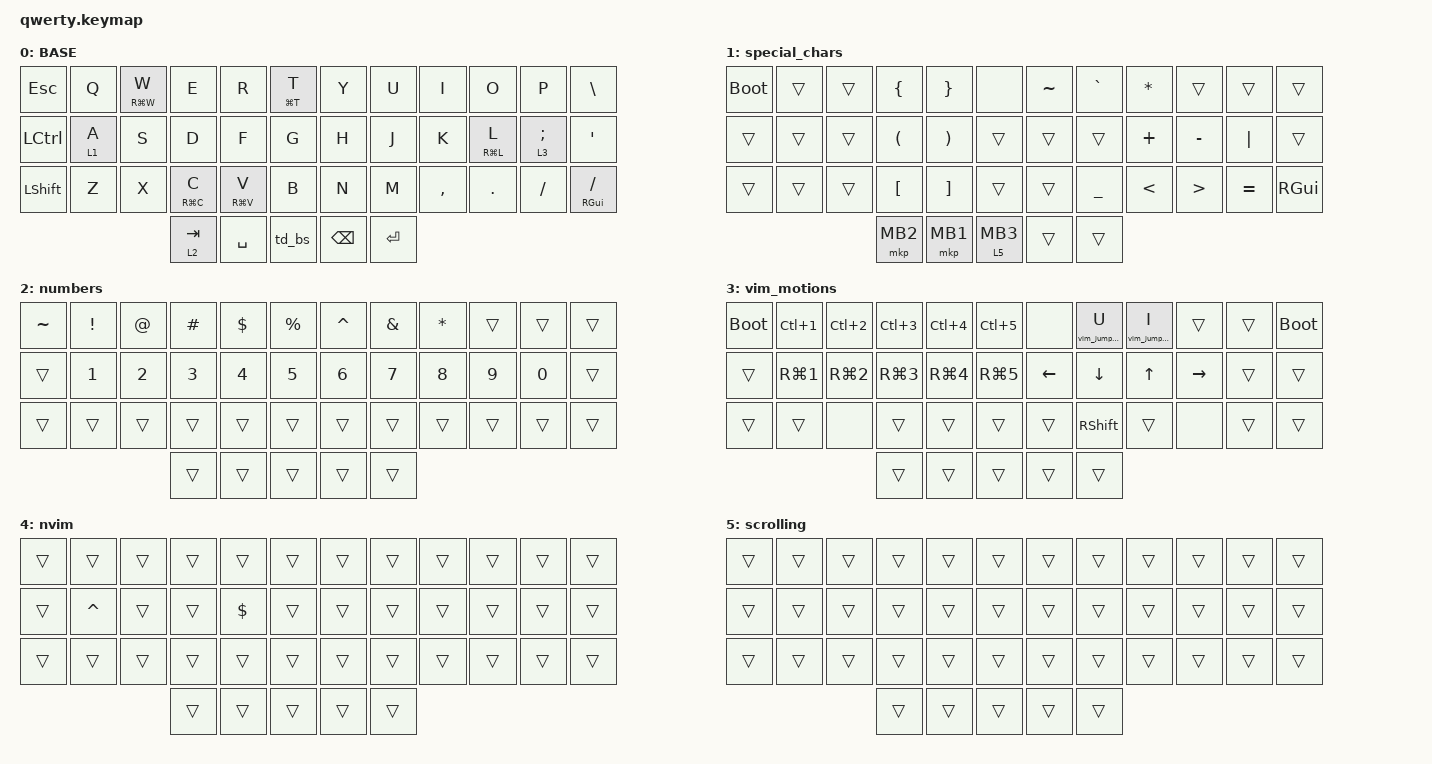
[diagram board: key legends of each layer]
/* upstream bindings and behaviors */

#include <dt-bindings/zmk/mouse.h>
#include <behaviors/mouse_keys.dtsi>
#include <behaviors.dtsi>
#include <dt-bindings/zmk/keys.h>
#include <dt-bindings/zmk/pointing.h>

/* local overlays */

#include "macros.dtsi"
#include "behaviors.dtsi"
#include "combos.dtsi"

/ {
    /* --- KEYMAP CONFIG --- */
    // ╭──────┬──────┬──────┬──────┬──────┬──────╮  ╭──────┬──────┬──────┬──────┬──────┬──────╮
    //    00     01     02     03    04      05        06     07     08     09     10     11
    // ├──────┼──────┼──────┼──────┼──────┼──────┤  ├──────┼──────┼──────┼──────┼──────┼──────┤
    //    12     13     14     15    16      17        18     19     20     21     22     23
    // ├──────┼──────┼──────┼──────┼──────┼──────┤  ├──────┼──────┼──────┼──────┼──────┼──────┤
    //    24     25     26     27    28      29        30     31     32     33     34     35
    // ╰──────┴──────┴──────┼──────┼──────┼──────┤  ├──────┼──────┼──────┴──────┴──────┴──────╯
    //                         36     37     38        39     40
    //                      ╰──────┴──────┴──────╯  ╰──────┴──────╯
    // #define BASE    0
    // #define NUM     1
    // #define NAV     2
    // #define SYM     3
    // #define GAME    4
    // #define EXTRAS  5
    // #define SLOW    6
    // #define SCROLL  7

    combos {
        compatible = "zmk,combos";

        scroll {
            bindings = <&mkp MB3>;
            key-positions = <13 38>;
        };

        spotlight {
            bindings = <&kp RG(SPACE)>;
            key-positions = <37 40>;
        };
    };

    behaviors {
        cmd_plus: cmd_plus {
            compatible = "zmk,behavior-hold-tap";
            label = "CMD_PLUS";
            bindings = <&kp>, <&kp>;

            #binding-cells = <2>;
            tapping-term-ms = <290>;
            flavor = "tap-preferred";
        };

        scroll: scroll {
            compatible = "zmk,behavior-hold-tap";
            label = "SCROLL";
            bindings = <&mo>, <&mkp>;

            #binding-cells = <2>;
            tapping-term-ms = <200>;
            flavor = "hold-preferred";
        };

        // scroll_motion: scroll_motion {
        //     compatible = "zmk,behavior-sensor-rotate";
        //     label = "ScrollMode";
        //     bindings = <&msc MOVE_VERT(-15)>, <&msc MOVE_VERT(15)>;
        // };

        homerow: homerow {
            compatible = "zmk,behavior-hold-tap";
            label = "HOMEROW";
            bindings = <&lt>, <&kp>;

            #binding-cells = <2>;
            tapping-term-ms = <300>;
            flavor = "tap-preferred";
        };

        hold_vim_write: hold_vim_write {
            compatible = "zmk,behavior-hold-tap";
            label = "HOLD_VIM_WRITE";
            bindings = <&kp>, <&vim_write>;

            #binding-cells = <2>;
            tapping-term-ms = <300>;
            flavor = "tap-preferred";
        };

        bh_vim_jump_back: bh_vim_jump_back {
            compatible = "zmk,behavior-hold-tap";
            label = "BH_VIM_JUMP_BACK";
            bindings = <&vim_jump_back>, <&kp>;

            #binding-cells = <2>;
            tapping-term-ms = <300>;
            flavor = "tap-preferred";
        };

        bh_vim_jump_fws: bh_vim_jump_fws {
            compatible = "zmk,behavior-hold-tap";
            label = "BH_VIM_JUMP_FWS";
            bindings = <&vim_jump_fwd>, <&kp>;

            #binding-cells = <2>;
            tapping-term-ms = <300>;
            flavor = "tap-preferred";
        };

        mouse_m3: mouse_m3 {
            compatible = "zmk,behavior-hold-tap";
            label = "MOUSE_M3";
            bindings = <&mo>, <&mkp>;

            #binding-cells = <2>;
            tapping-term-ms = <300>;
            flavor = "balanced";
        };
    };

    macros {
        vim_write: vim_write {
            compatible = "zmk,behavior-macro";
            #binding-cells = <0>;
            bindings = <&kp COLON &kp W>;
            label = "VIM_WRITE";
        };

        vim_jump_back: vim_jump_back {
            compatible = "zmk,behavior-macro";
            #binding-cells = <0>;
            bindings = <&kp LBKT &kp J>;
            label = "VIM_JUMP_BACK";
        };

        vim_jump_fwd: vim_jump_fwd {
            compatible = "zmk,behavior-macro";
            #binding-cells = <0>;
            bindings = <&kp RBKT &kp J>;
            label = "VIM_JUMP_FWD";
        };
    };

    keymap {
        compatible = "zmk,keymap";

        BASE {
            bindings = <
&kp ESCAPE      &kp Q    &cmd_plus RG(W) W  &kp E              &kp R              &cmd_plus LG(T) T    &kp Y          &kp U      &kp I      &kp O              &kp P            &kp BACKSLASH
&kp LCTRL       &lt 1 A  &kp S              &kp D              &kp F              &kp G                &kp H          &kp J      &kp K      &cmd_plus RG(L) L  &lt 3 SEMICOLON  &kp SINGLE_QUOTE
&kp LEFT_SHIFT  &kp Z    &kp X              &cmd_plus RG(C) C  &cmd_plus RG(V) V  &kp B                &kp N          &kp M      &kp COMMA  &kp PERIOD         &kp SLASH        &mt RIGHT_GUI SLASH
                                            &lt 2 TAB          &kp SPACE          &td_bs               &kp BACKSPACE  &kp ENTER
            >;
        };

        special_chars {
            bindings = <
&bootloader  &trans  &trans  &kp LEFT_BRACE        &kp RIGHT_BRACE        &none              &kp TILDE  &kp GRAVE       &kp ASTERISK   &trans            &trans     &trans
&trans       &trans  &trans  &kp LEFT_PARENTHESIS  &kp RIGHT_PARENTHESIS  &trans             &trans     &trans          &kp PLUS       &kp MINUS         &kp PIPE   &trans
&trans       &trans  &trans  &kp LEFT_BRACKET      &kp RIGHT_BRACKET      &trans             &trans     &kp UNDERSCORE  &kp LESS_THAN  &kp GREATER_THAN  &kp EQUAL  &kp RGUI
                             &mkp MB2              &mkp MB1               &mouse_m3 5 MB3    &trans     &trans
            >;
        };

        numbers {
            bindings = <
&kp TILDE  &kp EXCLAMATION  &kp AT_SIGN   &kp HASH      &kp DOLLAR    &kp PERCENT     &kp CARET     &kp AMPERSAND  &kp ASTERISK  &trans  &trans  &trans
&trans     &kp NUMBER_1     &kp NUMBER_2  &kp NUMBER_3  &kp NUMBER_4  &kp NUMBER_5    &kp NUMBER_6  &kp N7         &kp N8        &kp N9  &kp N0  &trans
&trans     &trans           &trans        &trans        &trans        &trans          &trans        &trans         &trans        &trans  &trans  &trans
                                          &trans        &trans        &trans          &trans        &trans
            >;
        };

        vim_motions {
            bindings = <
&bootloader  &kp LC(NUMBER_1)  &kp LC(NUMBER_2)  &kp LC(NUMBER_3)  &kp LC(NUMBER_4)  &kp LC(N5)          &none           &bh_vim_jump_back 0 U  &bh_vim_jump_fws 0 I  &trans     &trans  &bootloader
&trans       &kp RG(NUMBER_1)  &kp RG(NUMBER_2)  &kp RG(NUMBER_3)  &kp RG(NUMBER_4)  &kp RG(NUMBER_5)    &kp LEFT_ARROW  &kp DOWN               &kp UP_ARROW          &kp RIGHT  &trans  &trans
&trans       &trans            &none             &trans            &trans            &trans              &trans          &kp RIGHT_SHIFT        &trans                &none      &trans  &trans
                                                 &trans            &trans            &trans              &trans          &trans
            >;
        };

        nvim {
            bindings = <
&trans  &trans     &trans  &trans  &trans      &trans    &trans  &trans  &trans  &trans  &trans  &trans
&trans  &kp CARET  &trans  &trans  &kp DOLLAR  &trans    &trans  &trans  &trans  &trans  &trans  &trans
&trans  &trans     &trans  &trans  &trans      &trans    &trans  &trans  &trans  &trans  &trans  &trans
                           &trans  &trans      &trans    &trans  &trans
            >;
        };

        scrolling {
            bindings = <
&trans  &trans  &trans  &trans  &trans  &trans    &trans  &trans  &trans  &trans  &trans  &trans
&trans  &trans  &trans  &trans  &trans  &trans    &trans  &trans  &trans  &trans  &trans  &trans
&trans  &trans  &trans  &trans  &trans  &trans    &trans  &trans  &trans  &trans  &trans  &trans
                        &trans  &trans  &trans    &trans  &trans
            >;
        };
    };
};
